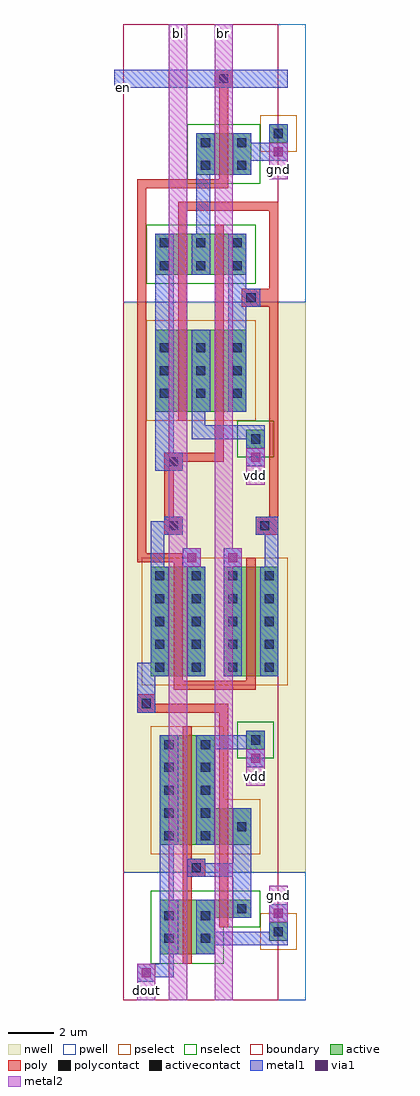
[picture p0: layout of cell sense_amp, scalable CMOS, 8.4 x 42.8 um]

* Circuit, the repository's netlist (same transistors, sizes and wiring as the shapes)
*********************** "sense_amp" ******************************

.SUBCKT sense_amp bl br dout en vdd gnd

* SPICE3 file created from sense_amp.ext - technology: scmos

M1000 gnd en a_56_432# gnd n w=1.8u l=0.4u
M1001 a_56_432# a_48_304# dint gnd n w=1.8u l=0.4u
M1002 a_48_304# dint a_56_432# gnd n w=1.8u l=0.4u
M1003 vdd a_48_304# dint vdd p w=3.6u l=0.4u
M1004 a_48_304# dint vdd vdd p w=3.6u l=0.4u
M1005 bl en dint vdd p w=4.8u l=0.4u
M1006 a_48_304# en br vdd p w=4.8u l=0.4u

M1007 dout_bar dint vdd vdd p w=1.6u l=0.4u
M1008 gnd dint dout_bar gnd n w=0.8u l=0.4u
M1009 dout dout_bar vdd vdd p w=4.8u l=0.4u
M1010 gnd dout_bar dout gnd n w=2.4u l=0.4u
.ENDS

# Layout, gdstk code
import gdstk
lib = gdstk.Library(unit=1e-6, precision=1e-09)
def R(c, l, rs):  # rectangles x0, y0, x1, y1
    for r in rs: c.add(gdstk.rectangle(r[:2], r[2:], *l))
def A(c, l, x, y, w, h, nx, ny, dx, dy):  # array of equal rectangles
    R(c, l, [(x+i*dx, y+j*dy, x+i*dx+w, y+j*dy+h) for i in range(nx) for j in range(ny)])
pwell = (41, 0)
nwell = (42, 0)
active = (43, 0)
pselect = (44, 0)
nselect = (45, 0)
poly = (46, 0)
polycontact = (47, 0)
activecontact = (48, 0)
metal1 = (49, 0)
via1 = (50, 0)
metal2 = (51, 0)
boundary = (63, 0)

sense_amp = lib.new_cell('sense_amp')
R(sense_amp, pwell, [(0,0,8,5.6), (0,30.6,8,42.8)])
R(sense_amp, nwell, [(0,5.6,8,30.6)])
R(sense_amp, active, [(1.6,2,4,3.6), (6.4,2.6,7.2,3.4), (1.6,3.6,5.6,4.4), (1.6,6.8,5.6,8.4), (1.6,8.4,4,11.6), (5.4,11,6.2,11.8), (1.2,14.2,3.6,19), (4.4,14.2,6.8,19), (5.4,24.2,6.2,25), (1.4,25.8,5.4,29.4), (1.4,31.8,5.4,33.6), (3.2,36.2,5.6,38), (6.4,37.6,7.2,38.4)])
R(sense_amp, pselect, [(6,2.2,7.6,3.8), (1.2,6.4,6,8.8), (1.2,8.8,4.4,12), (0.8,13.8,7.2,19.4), (1,25.4,5.8,29.8), (6,37.2,7.6,38.8)])
R(sense_amp, nselect, [(1.2,1.6,4.4,3.2), (1.2,3.2,6,4.8), (5,10.6,6.6,12.2), (5,23.8,6.6,25.4), (1,31.4,5.8,34), (2.8,35.8,6,38.4)])
R(sense_amp, poly, [(2.6,1.6,3,5.4), (4.2,3.2,4.6,12.6), (2.6,5.4,3.6,6.2), (2.6,6.2,3,12), (0.6,12.6,4.6,13), (0.6,13,1.4,13.4), (2.2,13.6,5.8,14), (2.2,14,2.6,19.2), (5.4,14,5.8,19.4), (0.6,19.2,2.6,19.6), (0.6,19.6,1,35.6), (1.8,20.4,2.6,21.2), (5.8,20.4,6.8,21.2), (1.8,21.2,2.2,23.2), (6.4,21.2,6.8,30.4), (1.8,23.2,2.6,23.6), (1.8,23.6,4.4,24), (4,24,4.4,34), (2.4,25.4,2.8,34.6), (5.2,30.4,6.8,31.2), (6.4,31.2,6.8,34.6), (2.4,34.6,6.8,35), (0.6,35.6,4.6,36), (4.2,36,4.6,40), (4,40,4.8,40.8)])
R(sense_amp, polycontact, [(3,5.6,3.4,6), (0.8,12.8,1.2,13.2), (2,20.6,2.4,21), (6,20.6,6.4,21), (2,23.4,2.4,23.8), (5.4,30.6,5.8,31), (4.2,40.2,4.6,40.6)])
A(sense_amp, activecontact, 1.8, 7, 0.4, 0.4, 1, 5, 0, 1)
A(sense_amp, activecontact, 3.4, 7, 0.4, 0.4, 1, 5, 0, 1)
A(sense_amp, activecontact, 1.4, 14.4, 0.4, 0.4, 4, 5, 1.6, 1)
A(sense_amp, activecontact, 1.6, 26.4, 0.4, 0.4, 3, 3, 1.6, 1)
A(sense_amp, activecontact, 1.6, 32, 0.4, 0.4, 3, 2, 1.6, 1)
R(sense_amp, activecontact, [(1.8,2.5,2.2,2.9), (3.4,2.5,3.8,2.9), (6.6,2.8,7,3.2), (1.8,3.5,2.2,3.9), (3.4,3.5,3.8,3.9), (5,3.8,5.4,4.2), (5,7.4,5.4,7.8), (5.6,11.2,6,11.6), (5.6,24.4,6,24.8), (3.4,36.4,3.8,36.8), (5,36.4,5.4,36.8), (3.4,37.4,3.8,37.8), (5,37.4,5.4,37.8), (6.6,37.8,7,38.2)])
R(sense_amp, metal1, [(0.6,0.8,1.4,1), (0.6,1,2.2,1.6), (1.6,1.6,2.2,2), (1.6,2,2.4,4.4), (3.2,2,4,2.4), (3.2,2.4,7.2,3), (3.2,3,4,4.4), (6.4,3,7.2,4.2), (4.8,3.6,5.6,5.4), (1.6,4.4,2.2,6.8), (2.8,5.4,5.6,6), (2.8,6,3.6,6.2), (4.8,6,5.6,8.4), (1.6,6.8,2.4,11.6), (3.2,6.8,4,11), (5.4,10.2,6.2,11), (3.2,11,6.2,11.6), (5.4,11.6,6.2,11.8), (0.6,12.6,1.4,14.2), (0.6,14.2,2,14.8), (2.8,14.2,3.6,19), (4.4,14.2,5.2,19.8), (6,14.2,6.8,19), (1.2,14.8,2,19), (1.2,19,1.8,20.4), (2.6,19,3.4,19.8), (6.2,19,6.8,20.4), (1.2,20.4,2.6,21), (5.8,20.4,6.8,21.2), (1.8,21,2.6,21.2), (1.4,23.2,2.6,24), (5.4,23.4,6.2,24.6), (1.4,24,2.2,33.6), (3,24.6,6.2,25.2), (3,25.2,3.6,25.8), (3,25.8,3.8,29.4), (4.6,25.8,5.4,30.4), (4.6,30.4,6,31.2), (4.6,31.2,5.4,33.6), (3,31.8,3.8,33.6), (3.2,33.6,3.8,36.2), (3.2,36.2,4,38), (4.8,36.2,5.6,36.8), (4.8,36.8,7.2,37.6), (4.8,37.6,5.6,38), (6.4,37.6,7.2,38.4), (-0.4,40,7.2,40.8)])
R(sense_amp, via1, [(0.8,1,1.2,1.4), (6.6,3.6,7,4), (5.6,10.4,6,10.8), (2.8,19.2,3.2,19.6), (4.6,19.2,5,19.6), (5.6,23.6,6,24), (6.6,37,7,37.4)])
R(sense_amp, metal2, [(0.6,0,1.4,1.6), (2,0,2.8,19), (4,0,4.8,19), (6.4,3.4,7.2,5), (5.4,9.4,6.2,11), (2,19,3.4,19.8), (4,19,5.2,19.8), (2,19.8,2.8,42.8), (4,19.8,4.8,42.8), (5.4,22.6,6.2,24.2), (6.4,36,7.2,37.6)])
R(sense_amp, boundary, [(0,0,6.8,42.8)])
sense_amp.add(gdstk.Label('dout', (1,0.4), layer=51, texttype=0))
sense_amp.add(gdstk.Label('vdd', (5.8,9.8), layer=51, texttype=0))
sense_amp.add(gdstk.Label('br', (4.4,42.4), layer=51, texttype=0))
sense_amp.add(gdstk.Label('bl', (2.4,42.4), layer=51, texttype=0))
sense_amp.add(gdstk.Label('vdd', (5.8,23), layer=51, texttype=0))
sense_amp.add(gdstk.Label('gnd', (6.8,36.4), layer=51, texttype=0))
sense_amp.add(gdstk.Label('en', (0,40), layer=49, texttype=0))
sense_amp.add(gdstk.Label('gnd', (6.8,4.6), layer=51, texttype=0))

lib.write_gds('sense_amp.gds')
